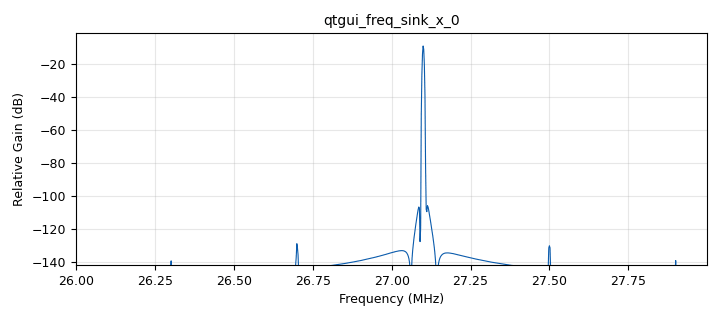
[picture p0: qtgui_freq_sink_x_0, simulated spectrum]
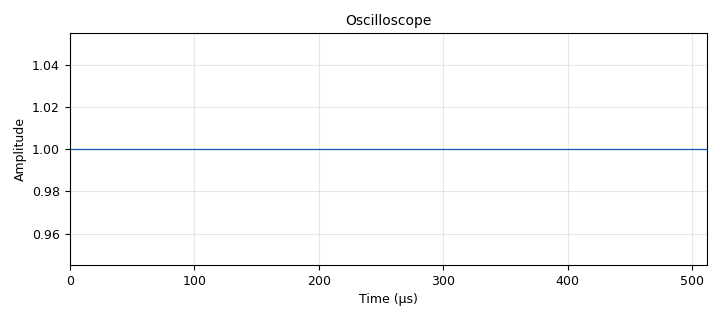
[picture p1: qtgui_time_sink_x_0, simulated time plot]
options:
  parameters:
    comment: |-
      REF: https://www.youtube.com/watch?v=IOKOJIK2kU8&t=1636s
      This flowgraph converts a 
      VectorSource containing a digital 
      series of 1s and 0s 
      to an analog output waveform.
    generate_options: qt_gui
    id: Digital_Pattern_to_Waveform
    output_language: python
    title: Digital_Pattern_to_Waveform
  states: {}

blocks:
- name: center_frequency
  id: variable
  parameters:
    value: 27e6
  states: {}
- name: offset_frequency
  id: variable
  parameters:
    value: '100000'
  states: {}
- name: samp_rate
  id: variable
  parameters:
    value: 2e6
  states: {}
- name: symbol_duration
  id: variable
  parameters:
    value: '0.000515'
  states: {}
- name: analog_sig_source_x_0
  id: analog_sig_source_x
  parameters:
    amp: '1'
    freq: offset_frequency
    offset: '0'
    phase: '0'
    samp_rate: samp_rate
    type: complex
    waveform: analog.GR_COS_WAVE
  states: {}
- name: blocks_add_const_vxx_0
  id: blocks_add_const_vxx
  parameters:
    const: '-0.5'
    type: float
  states: {}
- name: blocks_complex_to_mag_squared_0
  id: blocks_complex_to_mag_squared
  parameters: {}
  states: {}
- name: blocks_multiply_const_vxx_0
  id: blocks_multiply_const_vxx
  parameters:
    const: '2'
    type: float
  states: {}
- name: blocks_multiply_xx_0
  id: blocks_multiply_xx
  parameters:
    type: complex
  states: {}
- name: blocks_repeat_0
  id: blocks_repeat
  parameters:
    interp: int(samp_rate*symbol_duration)
    type: complex
  states: {}
- name: blocks_threshold_ff_0
  id: blocks_threshold_ff
  parameters:
    high: '.100'
    init: '0'
    low: '.110'
  states: {}
- name: blocks_throttle2_0
  id: blocks_throttle2
  parameters:
    samples_per_second: samp_rate
    type: complex
  states: {}
- name: blocks_vector_source_x_0
  id: blocks_vector_source_x
  parameters:
    repeat: 'True'
    tags: ''
    type: complex
    vector: (1,1,1,0,1,1,1,0,1,1,1,0,1,0,1,0,1,0,1,0,1,0,1,0,1,0,1,0,1,0,1,0,)
  states: {}
- name: osmosdr_sink_0
  id: osmosdr_sink
  parameters:
    args: '"hackrf"'
    bb_gain0: '10'
    freq0: 100e6
    gain0: '5'
    if_gain0: '10'
    sample_rate: samp_rate
    sync: sync
    type: fc32
  states: {state: disabled}
- name: osmosdr_source_0
  id: osmosdr_source
  parameters:
    args: '"hackrf"'
    bb_gain0: '20'
    freq0: 100e6
    gain0: '10'
    gain_mode0: 'False'
    if_gain0: '20'
    sample_rate: samp_rate
    sync: sync
    type: fc32
  states: {state: disabled}
- name: qtgui_freq_sink_x_0
  id: qtgui_freq_sink_x
  parameters:
    autoscale: 'True'
    bw: samp_rate
    ctrlpanel: 'True'
    fc: center_frequency
    fftsize: '1024'
    grid: 'True'
    type: complex
  states: {}
- name: qtgui_time_sink_x_0
  id: qtgui_time_sink_x
  parameters:
    autoscale: 'True'
    ctrlpanel: 'True'
    grid: 'True'
    name: '"Oscilloscope"'
    size: '1024'
    srate: samp_rate
    type: float
    ymax: '1.5'
    ymin: '-1.5'
  states: {}
- name: virtual_sink_0
  id: virtual_sink
  parameters:
    stream_id: Signal
  states: {}
- name: virtual_source_0
  id: virtual_source
  parameters:
    stream_id: Signal
  states: {}

connections:
- [analog_sig_source_x_0, '0', blocks_multiply_xx_0, '1']
- [blocks_add_const_vxx_0, '0', blocks_multiply_const_vxx_0, '0']
- [blocks_complex_to_mag_squared_0, '0', blocks_threshold_ff_0, '0']
- [blocks_multiply_const_vxx_0, '0', qtgui_time_sink_x_0, '0']
- [blocks_multiply_xx_0, '0', blocks_throttle2_0, '0']
- [blocks_repeat_0, '0', blocks_multiply_xx_0, '0']
- [blocks_threshold_ff_0, '0', blocks_add_const_vxx_0, '0']
- [blocks_throttle2_0, '0', osmosdr_sink_0, '0']
- [blocks_throttle2_0, '0', qtgui_freq_sink_x_0, '0']
- [blocks_throttle2_0, '0', virtual_sink_0, '0']
- [blocks_vector_source_x_0, '0', blocks_repeat_0, '0']
- [osmosdr_source_0, '0', blocks_complex_to_mag_squared_0, '0']
- [virtual_source_0, '0', blocks_complex_to_mag_squared_0, '0']

metadata:
  file_format: 1
  grc_version: 3.10.9.2
